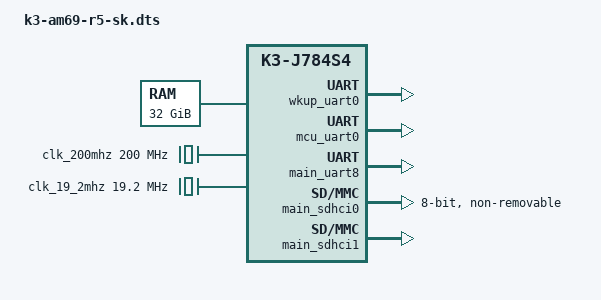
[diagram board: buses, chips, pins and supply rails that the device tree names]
// SPDX-License-Identifier: GPL-2.0
/*
 * Copyright (C) 2022-2023 Texas Instruments Incorporated - https://www.ti.com/
 */

/dts-v1/;

#include "k3-am69-sk.dts"
#include <dt-bindings/gpio/gpio.h>
#include "k3-j784s4-ddr-evm-lp4-4266.dtsi"
#include "k3-j784s4-ddr.dtsi"

/ {
	chosen {
		firmware-loader = &fs_loader0;
		stdout-path = &main_uart8;
		tick-timer = &timer1;
	};

	aliases {
		remoteproc0 = &sysctrler;
		remoteproc1 = &a72_0;
	};

	fs_loader0: fs_loader@0 {
		compatible = "u-boot,fs-loader";
		bootph-all;
	};

	memory@80000000 {
		device_type = "memory";
		/* 32G RAM */
		reg = <0x00000000 0x80000000 0x00000000 0x80000000>,
		      <0x00000008 0x80000000 0x00000007 0x80000000>;
		bootph-pre-ram;
	};

	a72_0: a72@0 {
		compatible = "ti,am654-rproc";
		reg = <0x0 0x00a90000 0x0 0x10>;
		power-domains = <&k3_pds 61 TI_SCI_PD_EXCLUSIVE>,
				<&k3_pds 202 TI_SCI_PD_EXCLUSIVE>;
		resets = <&k3_reset 202 0>;
		clocks = <&k3_clks 61 0>;
		assigned-clocks = <&k3_clks 61 0>, <&k3_clks 202 0>;
		assigned-clock-parents = <&k3_clks 61 1>;
		assigned-clock-rates = <200000000>, <2000000000>;
		ti,sci = <&sms>;
		ti,sci-proc-id = <32>;
		ti,sci-host-id = <10>;
		bootph-pre-ram;
	};

	clk_200mhz: dummy_clock_200mhz {
		compatible = "fixed-clock";
		#clock-cells = <0>;
		clock-frequency = <200000000>;
		bootph-pre-ram;
	};

	clk_19_2mhz: dummy_clock_19_2mhz {
		compatible = "fixed-clock";
		#clock-cells = <0>;
		clock-frequency = <19200000>;
		bootph-pre-ram;
	};
};

&cbass_mcu_wakeup {
	sa3_secproxy: secproxy@44880000 {
		bootph-pre-ram;
		compatible = "ti,am654-secure-proxy";
		reg = <0x0 0x44880000 0x0 0x20000>,
		      <0x0 0x44860000 0x0 0x20000>,
		      <0x0 0x43600000 0x0 0x10000>;
		reg-names = "rt", "scfg", "target_data";
		#mbox-cells = <1>;
	};

	mcu_secproxy: secproxy@2a380000 {
		compatible = "ti,am654-secure-proxy";
		reg = <0x0 0x2a380000 0x0 0x80000>,
		      <0x0 0x2a400000 0x0 0x80000>,
		      <0x0 0x2a480000 0x0 0x80000>;
		reg-names = "rt", "scfg", "target_data";
		#mbox-cells = <1>;
		bootph-pre-ram;
	};

	sysctrler: sysctrler {
		compatible = "ti,am654-system-controller";
		mboxes= <&mcu_secproxy 4>, <&mcu_secproxy 5>, <&sa3_secproxy 5>;
		mbox-names = "tx", "rx", "boot_notify";
		bootph-pre-ram;
	};

	dm_tifs: dm-tifs {
		compatible = "ti,j721e-dm-sci";
		ti,host-id = <3>;
		ti,secure-host;
		mbox-names = "rx", "tx";
		mboxes= <&mcu_secproxy 21>,
			<&mcu_secproxy 23>;
		bootph-pre-ram;
	};
};

&sms {
	mboxes= <&mcu_secproxy 8>, <&mcu_secproxy 6>, <&mcu_secproxy 5>;
	mbox-names = "tx", "rx", "notify";
	ti,host-id = <4>;
	ti,secure-host;
	bootph-pre-ram;
};

&wkup_uart0 {
	bootph-pre-ram;
	status = "okay";
	pinctrl-names = "default";
	pinctrl-0 = <&wkup_uart0_pins_default>;
};

&mcu_uart0 {
	bootph-pre-ram;
	status = "okay";
	pinctrl-names = "default";
	pinctrl-0 = <&mcu_uart0_pins_default>;
};

&main_uart8 {
	bootph-pre-ram;
	status = "okay";
	pinctrl-names = "default";
	pinctrl-0 = <&main_uart8_pins_default>;
};

&main_sdhci0 {
	status = "okay";
	/delete-property/ power-domains;
	/delete-property/ assigned-clocks;
	/delete-property/ assigned-clock-parents;
	clock-names = "clk_xin";
	clocks = <&clk_200mhz>;
	ti,driver-strength-ohm = <50>;
	non-removable;
	bus-width = <8>;
};

&main_sdhci1 {
	status = "okay";
	/delete-property/ power-domains;
	/delete-property/ assigned-clocks;
	/delete-property/ assigned-clock-parents;
	pinctrl-0 = <&main_mmc1_pins_default>;
	pinctrl-names = "default";
	clock-names = "clk_xin";
	clocks = <&clk_200mhz>;
	ti,driver-strength-ohm = <50>;
};

&mcu_ringacc {
	ti,sci = <&dm_tifs>;
};

&mcu_udmap {
	ti,sci = <&dm_tifs>;
};

&ospi0 {
	reg = <0x0 0x47040000 0x0 0x100>,
		<0x0 0x50000000 0x0 0x8000000>;
};

#include "k3-am69-sk-u-boot.dtsi"
